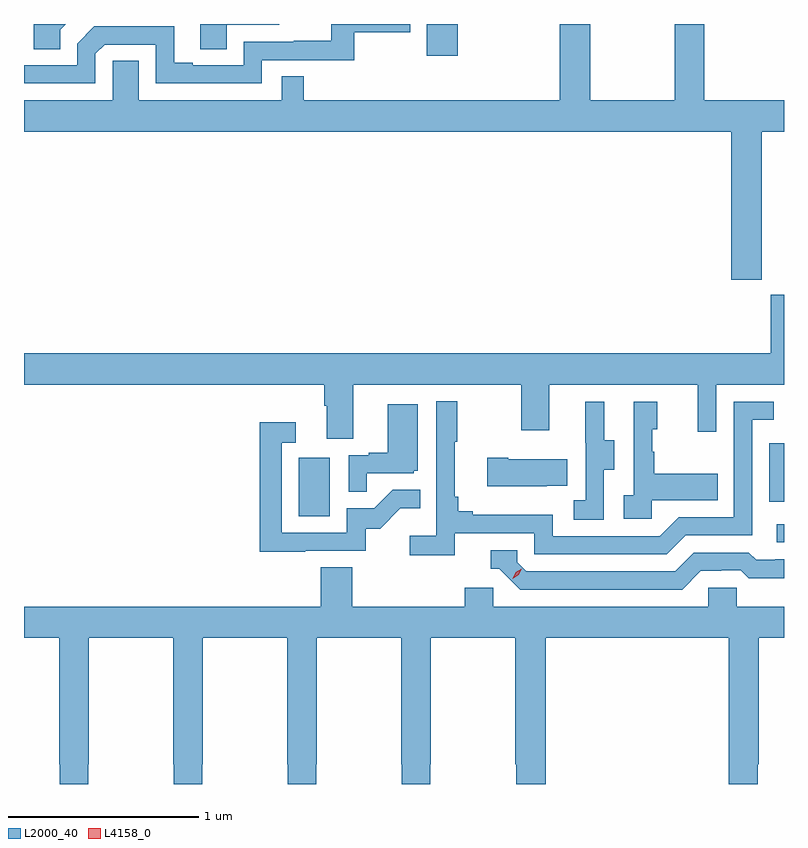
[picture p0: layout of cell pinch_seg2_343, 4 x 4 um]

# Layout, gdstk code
import gdstk
lib = gdstk.Library(unit=1e-6, precision=1e-09)
def R(c, l, rs):  # rectangles x0, y0, x1, y1
    for r in rs: c.add(gdstk.rectangle(r[:2], r[2:], *l))
def P(c, l, *ps):  # polygons
    for p in ps: c.add(gdstk.Polygon(p, *l))
L2000_40 = (2000, 40)
L4158_0 = (4158, 0)

pinch_seg2_343 = lib.new_cell('pinch_seg2_343')
R(pinch_seg2_343, L2000_40, [(976.359,634.818,976.398,634.914), (973.844,634.956,974.008,635.263), (976.32,635.031,976.398,635.34), (974.519,637.38,974.68,637.546)])
P(pinch_seg2_343, L2000_40, [(972.774,637.389),(972.822,637.437),(973.092,637.437),(973.092,637.233),(973.65,637.233),(973.65,637.356),(974.137,637.356),(974.137,637.503),(974.43,637.503),(974.43,637.546),(974.016,637.546),(974.016,637.457),(973.819,637.457),(973.819,637.452),(973.554,637.452),(973.554,637.329),(973.285,637.329),(973.285,637.342),(973.189,637.342),(973.189,637.535),(972.984,637.535),(972.984,637.533),(972.768,637.533),(972.678,637.443),(972.678,637.329),(972.398,637.329),(972.398,637.233),(972.774,637.233)],
  [(976.281,636.98),(976.398,636.98),(976.398,637.144),(975.978,637.144),(975.978,637.546),(975.823,637.546),(975.823,637.144),(975.378,637.144),(975.378,637.546),(975.218,637.546),(975.218,637.144),(973.871,637.144),(973.871,637.271),(973.755,637.271),(973.755,637.144),(973.003,637.144),(973.003,637.352),(972.864,637.352),(972.864,637.144),(972.398,637.144),(972.398,636.98),(976.121,636.98),(976.121,636.201),(976.281,636.201)],
  [(973.465,637.542),(973.742,637.542),(973.742,637.546),(973.325,637.546),(973.325,637.414),(973.465,637.414)],
  [(972.589,637.516),(972.619,637.546),(972.449,637.546),(972.449,637.414),(972.589,637.414)],
  [(974.131,635.648),(975.016,635.648),(975.016,635.409),(975.163,635.409),(975.163,635.648),(975.944,635.648),(975.944,635.4),(976.041,635.4),(976.041,635.648),(976.398,635.648),(976.398,636.121),(976.328,636.121),(976.328,635.812),(972.398,635.812),(972.398,635.648),(973.979,635.648),(973.979,635.536),(973.991,635.536),(973.991,635.362),(974.131,635.362)],
  [(974.666,634.866),(975.084,634.866),(975.084,634.755),(975.781,634.755),(975.88,634.854),(976.23,634.854),(976.23,635.463),(976.343,635.463),(976.343,635.559),(976.134,635.559),(976.134,634.95),(975.843,634.95),(975.744,634.851),(975.18,634.851),(975.18,634.963),(974.761,634.963),(974.761,634.982),(974.684,634.982),(974.684,635.059),(974.665,635.059),(974.665,635.347),(974.677,635.347),(974.677,635.56),(974.568,635.56),(974.568,634.852),(974.427,634.852),(974.427,634.75),(974.666,634.75)],
  [(975.45,635.2),(975.505,635.2),(975.505,635.355),(975.451,635.355),(975.451,635.557),(975.353,635.557),(975.353,635.343),(975.354,635.343),(975.354,635.039),(975.291,635.039),(975.291,634.936),(975.45,634.936)],
  [(975.702,635.039),(976.049,635.039),(976.049,635.179),(975.715,635.179),(975.715,635.294),(975.705,635.294),(975.705,635.412),(975.73,635.412),(975.73,635.557),(975.606,635.557),(975.606,635.066),(975.555,635.066),(975.555,634.941),(975.702,634.941)],
  [(974.201,635.181),(974.448,635.181),(974.448,635.196),(974.47,635.196),(974.47,635.545),(974.312,635.545),(974.312,635.29),(974.213,635.29),(974.213,635.277),(974.106,635.277),(974.106,635.083),(974.201,635.083)],
  [(973.877,634.773),(974.196,634.773),(974.196,634.89),(974.272,634.89),(974.379,634.997),(974.483,634.997),(974.483,635.096),(974.339,635.096),(974.241,634.998),(974.097,634.998),(974.097,634.869),(973.755,634.869),(973.755,635.343),(973.828,635.343),(973.828,635.449),(973.639,635.449),(973.639,634.768),(973.877,634.768)],
  [(975.149,635.117),(975.257,635.117),(975.257,635.254),(974.947,635.254),(974.947,635.262),(974.835,635.262),(974.835,635.114),(975.149,635.114)],
  [(975.961,634.668),(976.068,634.668),(976.068,634.671),(976.171,634.671),(976.213,634.629),(976.398,634.629),(976.398,634.728),(976.351,634.728),(976.351,634.725),(976.252,634.725),(976.213,634.764),(975.924,634.764),(975.825,634.665),(975.042,634.665),(974.994,634.713),(974.994,634.776),(974.855,634.776),(974.855,634.68),(974.898,634.68),(975.009,634.569),(975.862,634.569)],
  [(972.398,634.316),(972.583,634.316),(972.583,633.649),(972.585,633.649),(972.585,633.546),(972.735,633.546),(972.735,633.649),(972.738,633.649),(972.738,634.316),(973.183,634.316),(973.183,633.649),(973.185,633.649),(973.185,633.546),(973.335,633.546),(973.335,633.649),(973.338,633.649),(973.338,634.316),(973.783,634.316),(973.783,633.649),(973.785,633.649),(973.785,633.546),(973.935,633.546),(973.935,633.649),(973.938,633.649),(973.938,634.316),(974.383,634.316),(974.383,633.649),(974.385,633.649),(974.385,633.546),(974.535,633.546),(974.535,633.649),(974.538,633.649),(974.538,634.316),(974.983,634.316),(974.983,633.649),(974.989,633.649),(974.989,633.546),(975.143,633.546),(975.143,634.316),(976.106,634.316),(976.106,633.546),(976.261,633.546),(976.261,633.649),(976.266,633.649),(976.266,634.316),(976.398,634.316),(976.398,634.48),(976.149,634.48),(976.149,634.578),(975.999,634.578),(975.999,634.48),(974.868,634.48),(974.868,634.578),(974.717,634.578),(974.717,634.48),(974.126,634.48),(974.126,634.688),(973.961,634.688),(973.961,634.48),(972.398,634.48)])
P(pinch_seg2_343, L4158_0, [(974.971,634.627),(974.971,634.627),(974.987,634.66),(975.017,634.68),(975.017,634.68),(975.017,634.679),(975.002,634.647),(974.971,634.627)])

lib.write_gds('pinch_seg2_343.gds')
